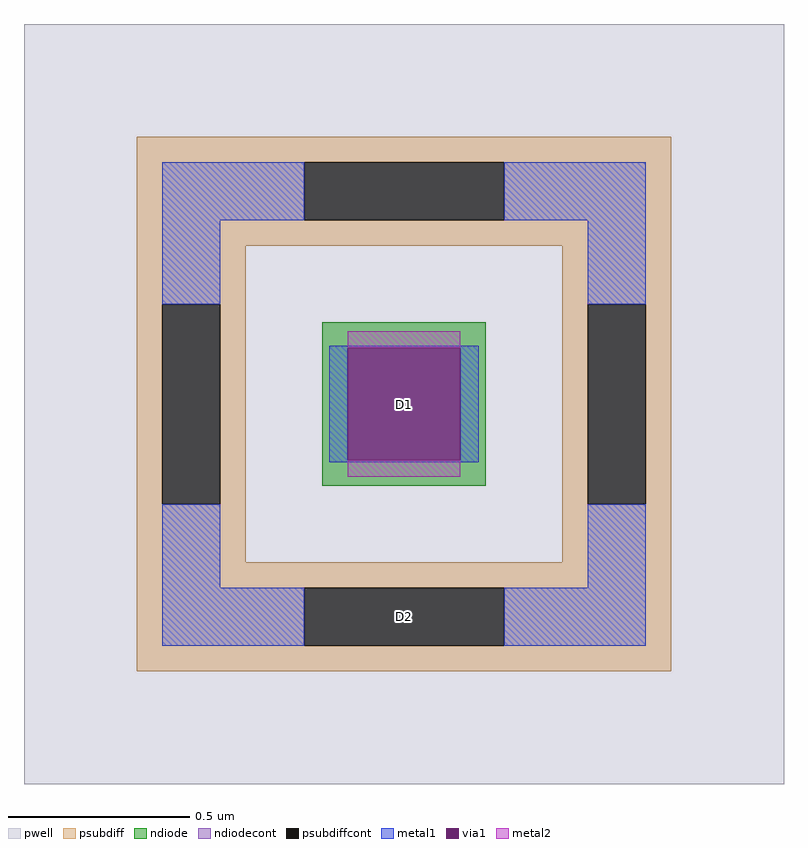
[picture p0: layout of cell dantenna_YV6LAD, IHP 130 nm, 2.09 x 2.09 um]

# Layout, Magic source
magic
tech ihp-sg13cmos5l
magscale 1 2
<< pwell >>
rect -209 -209 209 209
<< psubdiff >>
rect -147 133 147 147
rect -147 101 -55 133
rect 55 101 147 133
rect -147 87 147 101
rect -147 55 -87 87
rect -147 -55 -133 55
rect -101 -55 -87 55
rect 87 55 147 87
rect -147 -87 -87 -55
rect 87 -55 101 55
rect 133 -55 147 55
rect 87 -87 147 -55
rect -147 -101 147 -87
rect -147 -133 -55 -101
rect 55 -133 147 -101
rect -147 -147 147 -133
<< psubdiffcont >>
rect -55 101 55 133
rect -133 -55 -101 55
rect 101 -55 133 55
rect -55 -133 55 -101
<< ndiode >>
rect -45 31 45 45
rect -45 -31 -31 31
rect 31 -31 45 31
rect -45 -45 45 -31
<< ndiodecont >>
rect -31 -31 31 31
<< metal1 >>
rect -133 101 -55 133
rect 55 101 133 133
rect -133 55 -101 101
rect 101 55 133 101
rect -41 31 41 32
rect -41 -31 -31 31
rect 31 -31 41 31
rect -41 -32 41 -31
rect -133 -101 -101 -55
rect 101 -101 133 -55
rect -133 -133 -55 -101
rect 55 -133 133 -101
<< via1 >>
rect -31 -31 31 31
<< metal2 >>
rect -31 31 31 40
rect -31 -40 31 -31
<< labels >>
rlabel psubdiffcont 0 -117 0 -117 0 D2
port 1 nsew
rlabel ndiodecont 0 0 0 0 0 D1
port 2 nsew
<< properties >>
string FIXED_BBOX -117 -117 117 117
string gencell dantenna
string library sg13cmos5l
string parameters w 0.45 l 0.45 area 202.5m peri 1.8 nx 1 ny 1 dummy 0 lmin 0.45 wmin 0.45 class diode elc 1 erc 1 etc 1 ebc 1 doverlap 0 doports 1 full_metal 1 vias 1 viagb 0 viagt 0 viagl 0 viagr 0
<< end >>
